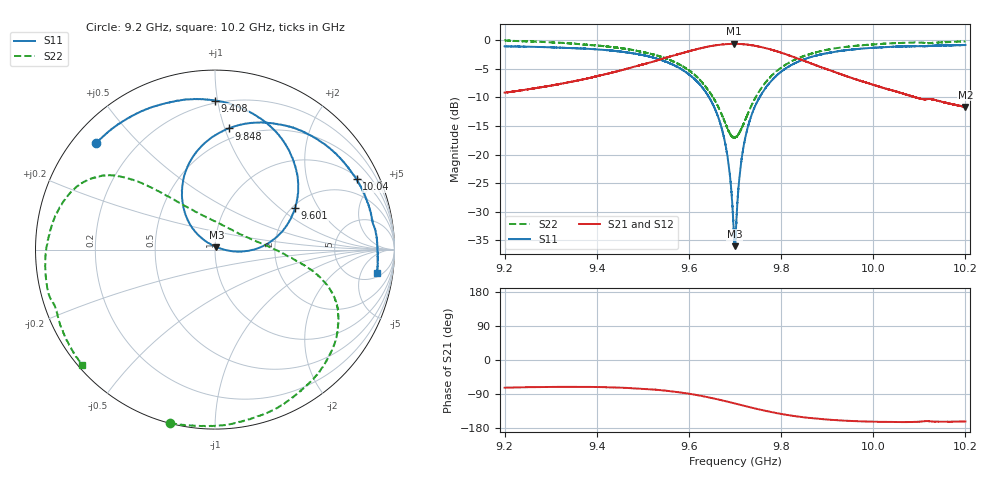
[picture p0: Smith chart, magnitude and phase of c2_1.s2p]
!Agilent Technologies,N5242A,MY51221714,A.09.90.19
!Agilent N5242A: A.09.90.19
!Date: Tuesday, March 26, 2024 17:01:00
!Correction: S11(Full 2 Port(1,2))
!S21(Full 2 Port(1,2))
!S12(Full 2 Port(1,2))
!S22(Full 2 Port(1,2))
!S2P File: Measurements: S11, S21, S12, S22:
# Hz S  dB  R 50
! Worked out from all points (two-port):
!   16001 points, 9.2 GHz to 10.2 GHz, reference 50 ohm
!   highest |S21| = -0.58 dB at 9.697 GHz (marker M1); lowest = -11.7 dB at 10.2 GHz (marker M2)
!   |S21| within 3 dB of the highest: 9.527405 GHz to 9.527489 GHz (83.55 kHz wide, 0.000877 % of centre); 9.528 GHz to 9.85 GHz (322.9 MHz wide, 3.33 % of centre)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
!   lowest |S11| = -36.1 dB at 9.699 GHz (marker M3), VSWR 1.03, Z = 50.8 + j1.38 ohm
!   |S11| at or under -10 dB: 9.643868 GHz to 9.643879 GHz (11.04 kHz wide, 0.000114 % of centre); 9.644 GHz to 9.753 GHz (109.2 MHz wide, 1.13 % of centre)
!   |S22| runs from -17.1 to 0.0 dB; largest |S21 - S12| = 0.012
!   S11 on the Smith chart (normalised r, x): 9.2 GHz: 0.07, +0.38; 9.408 GHz: 0.18, +0.98; 9.601 GHz: 2.08, +1.28; 9.848 GHz: 0.41, +1.03; 10.04 GHz: 1.12, +3.95; 10.2 GHz: 6, -10
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9.2e9  -1.03 138.1  -9.15 -73.2  -9.14 -73.9  -0.02 -104.6
9.278562e9  -1.16 121.0  -8.21 -71.4  -8.20 -72.1  -0.23 -83.3
9.366688e9  -1.40 100.6  -6.88 -71.0  -6.87 -71.6  -0.68 -60.4
9.408438e9  -1.62 90.0  -6.12 -71.5  -6.10 -72.3  -0.94 -50.1
9.533375e9  -3.28 52.9  -3.44 -79.0  -3.44 -79.6  -2.69 -23.2
9.600688e9  -5.99 27.3  -1.88 -89.1  -1.87 -89.7  -5.28 -11.8
9.641062e9  -9.62 9.7  -1.09 -98.2  -1.10 -98.7  -8.64 -2.7
9.668438e9  -14.62 -1.9  -0.74 -105.5  -0.73 -106.0  -12.49 10.5
9.685438e9  -21.33 -3.9  -0.62 -110.4  -0.61 -111.0  -15.75 32.7
9.697438e9  -33.32 29.0  -0.58 -114.1  -0.58 -114.7  -17.04 59.8
9.699188e9  -36.07 59.4  -0.59 -114.6  -0.58 -115.2  -17.03 64.6
9.7e9  -35.89 74.9  -0.58 -114.9  -0.58 -115.5  -16.99 66.1
9.716875e9  -19.43 138.7  -0.66 -120.0  -0.63 -120.6  -14.91 102.0
9.7405e9  -12.10 130.8  -0.89 -127.1  -0.88 -127.6  -10.64 124.5
9.78825e9  -6.29 108.6  -1.83 -139.6  -1.83 -140.3  -5.52 137.0
9.848375e9  -3.35 83.5  -3.51 -151.1  -3.52 -151.6  -2.75 145.3
9.866688e9  -2.86 76.8  -4.07 -153.6  -4.08 -154.1  -2.29 148.0
9.934875e9  -1.77 54.6  -6.06 -159.9  -6.06 -160.5  -1.19 159.7
1.003338e10  -1.15 28.4  -8.58 -163.4  -8.58 -164.0  -0.53 -179.7
1.004131e10  -1.10 26.4  -8.76 -163.4  -8.75 -164.1  -0.48 -177.9
1.019988e10  -0.81 -8.1  -11.66 -162.3  -11.66 -162.9  -0.18 -139.1
1.02e10  -0.80 -8.1  -11.64 -162.2  -11.65 -162.9  -0.18 -139.0
